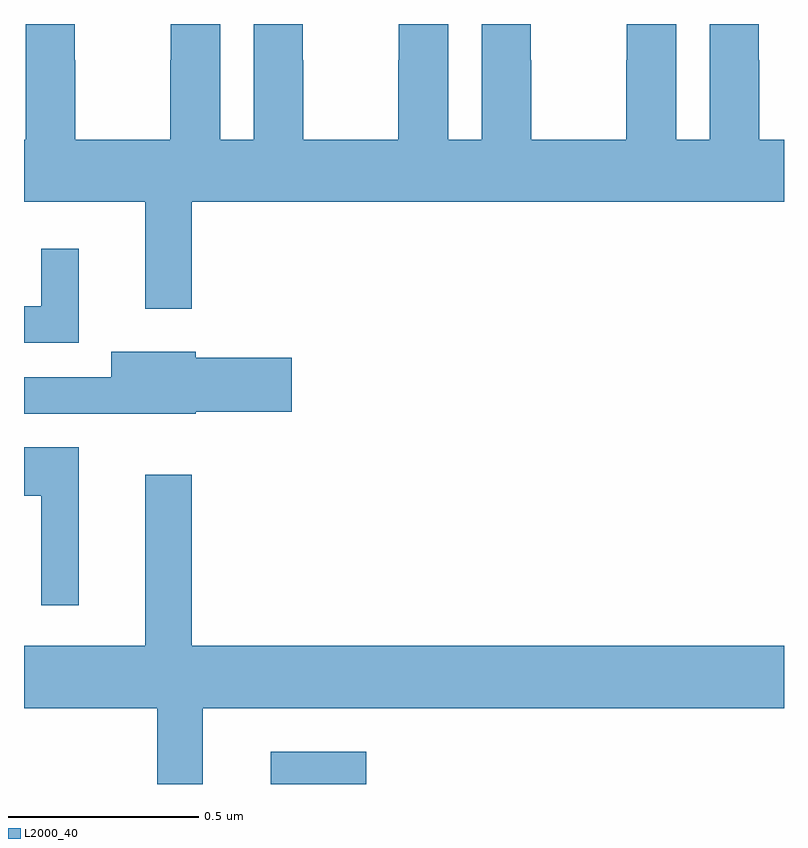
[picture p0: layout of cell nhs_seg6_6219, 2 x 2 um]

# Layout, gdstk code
import gdstk
lib = gdstk.Library(unit=1e-6, precision=1e-09)
def R(c, l, rs):  # rectangles x0, y0, x1, y1
    for r in rs: c.add(gdstk.rectangle(r[:2], r[2:], *l))
def P(c, l, *ps):  # polygons
    for p in ps: c.add(gdstk.Polygon(p, *l))
L2000_40 = (2000, 40)

nhs_seg6_6219 = lib.new_cell('nhs_seg6_6219')
R(nhs_seg6_6219, L2000_40, [(193.649,916.5,193.9,916.585)])
P(nhs_seg6_6219, L2000_40, [(193.441,918.032),(195,918.032),(195,918.196),(194.935,918.196),(194.935,918.404),(194.934,918.404),(194.934,918.5),(194.804,918.5),(194.804,918.196),(194.716,918.196),(194.716,918.5),(194.586,918.5),(194.586,918.404),(194.585,918.404),(194.585,918.196),(194.335,918.196),(194.335,918.404),(194.334,918.404),(194.334,918.5),(194.204,918.5),(194.204,918.196),(194.116,918.196),(194.116,918.5),(193.986,918.5),(193.986,918.404),(193.985,918.404),(193.985,918.196),(193.735,918.196),(193.735,918.404),(193.734,918.404),(193.734,918.5),(193.604,918.5),(193.604,918.196),(193.516,918.196),(193.516,918.5),(193.386,918.5),(193.386,918.404),(193.385,918.404),(193.385,918.196),(193.135,918.196),(193.135,918.404),(193.134,918.404),(193.134,918.5),(193.004,918.5),(193.004,918.196),(193,918.196),(193,918.032),(193.319,918.032),(193.319,917.751),(193.441,917.751)],
  [(193.144,917.908),(193.046,917.908),(193.046,917.757),(193,917.757),(193,917.661),(193.144,917.661)],
  [(193.452,917.48),(193.705,917.48),(193.705,917.622),(193.452,917.622),(193.452,917.638),(193.229,917.638),(193.229,917.571),(193,917.571),(193,917.475),(193.233,917.475),(193.233,917.474),(193.452,917.474)],
  [(193.144,917.386),(193,917.386),(193,917.258),(193.046,917.258),(193.046,916.971),(193.144,916.971)],
  [(193.471,916.7),(195,916.7),(195,916.864),(193.441,916.864),(193.441,917.314),(193.319,917.314),(193.319,916.864),(193,916.864),(193,916.7),(193.35,916.7),(193.35,916.5),(193.471,916.5)])

lib.write_gds('nhs_seg6_6219.gds')
